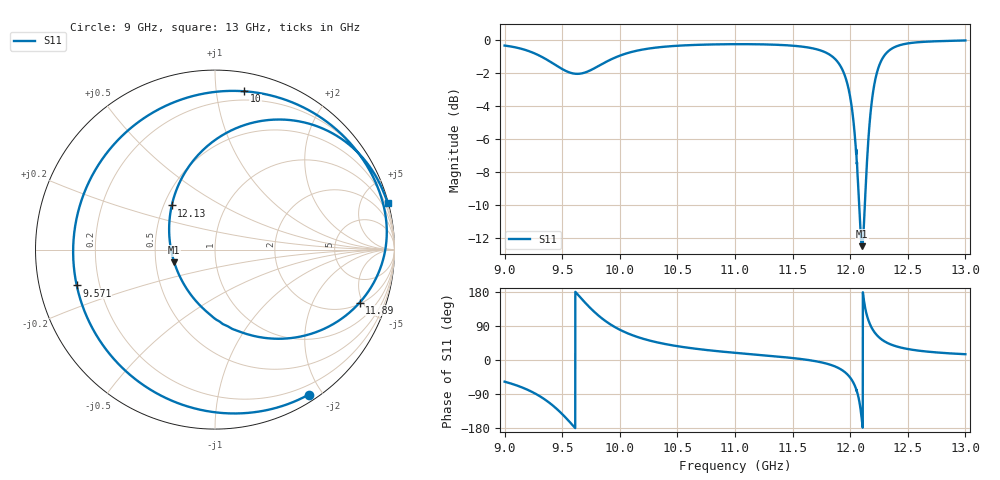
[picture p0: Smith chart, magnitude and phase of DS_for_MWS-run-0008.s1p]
! TOUCHSTONE file generated by CST DESIGN STUDIO
! Date and time: Tue Feb  4 17:57:34 2025
! Project name: C:\Work\MatlabApps\UnitCellOptimizationMatlab\CST\unitcell.cst
! Tree item: Tasks\Sweep1\SPara1\S-Parameters
! Header version: 2024
! Port assignment regex: !\s*Touchstone port\s*([0-9]+)\s*=\s*(CST MWS port|CST DES external port|CST DES block port)\s*(.+)\s* \(\"(.*)\"\)(\s*mode\s*([0-9]+))?.*
! Touchstone port assignment:
! Touchstone port 1 = CST DES external port 1 ("")
# GHz S MA R 50
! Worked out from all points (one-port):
!   4001 points, 9 GHz to 13 GHz, reference 50 ohm
!   lowest |S11| = -12.5 dB at 12.1 GHz (marker M1), VSWR 1.62, Z = 31.2 - j4.66 ohm
!   |S11| at or under -10 dB: 12.0777 GHz to 12.12705 GHz (49.34 MHz wide, 0.408 % of centre)
!   S11 on the Smith chart (normalised r, x): 9 GHz: 0.08, -1.83; 9.571 GHz: 0.12, -0.13; 10 GHz: 0.13, +1.19; 11.89 GHz: 2.11, -4.74; 12.13 GHz: 0.55, +0.31; 13 GHz: 0.10, +7.47
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9  0.9619 -57.2
9.154  0.9387 -72.7
9.305  0.8957 -95.5
9.406  0.8553 -117.0
9.5  0.8167 -142.7
9.571  0.7959 -165.5
9.671  0.7926 160.5
9.789  0.8246 124.2
9.885  0.86 100.8
10  0.8965 79.9
10.002  0.897 79.6
10.218  0.9381 54.7
10.5  0.9605 36.5
11  0.9712 18.9
11.5  0.961 5.2
11.752  0.9273 -6.3
11.891  0.8585 -20.1
11.951  0.7847 -31.3
12  0.6715 -46.5
12.055  0.4401 -79.4
12.103  0.2379 -162.8
12.132  0.3445 134.4
12.177  0.6036 90.9
12.226  0.7817 67.5
12.275  0.8728 53.7
12.333  0.9263 43.5
12.5  0.9763 29.0
13  0.9966 15.2
